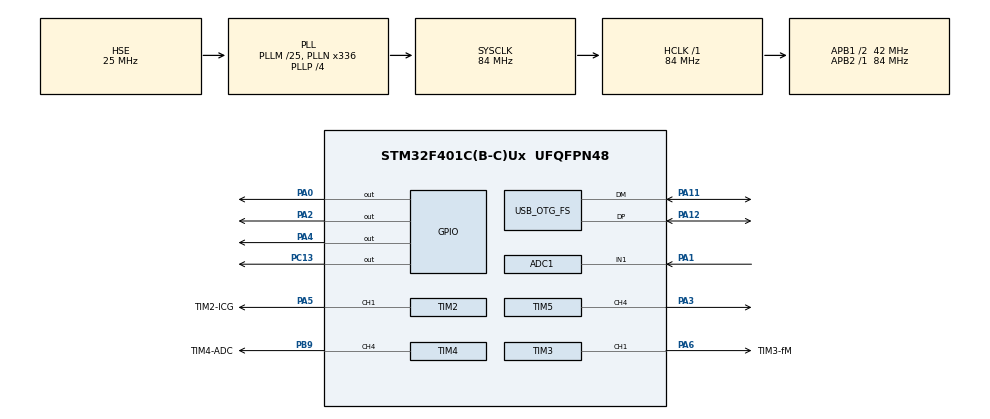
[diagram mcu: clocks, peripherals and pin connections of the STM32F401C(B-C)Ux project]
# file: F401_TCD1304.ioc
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ADC1.Channel-0\#ChannelRegularConversion=ADC_CHANNEL_1
ADC1.DMAContinuousRequests=ENABLE
ADC1.ExternalTrigConv=ADC_EXTERNALTRIGCONV_T4_CC4
ADC1.InjNumberOfConversion=0
ADC1.NbrOfConversion=1
ADC1.NbrOfConversionFlag=1
ADC1.Rank-0\#ChannelRegularConversion=1
ADC1.SamplingTime-0\#ChannelRegularConversion=ADC_SAMPLETIME_3CYCLES
ADC1.master=1
Dma.ADC1.0.Direction=DMA_PERIPH_TO_MEMORY
Dma.ADC1.0.FIFOMode=DMA_FIFOMODE_DISABLE
Dma.ADC1.0.Instance=DMA2_Stream0
Dma.ADC1.0.MemDataAlignment=DMA_MDATAALIGN_HALFWORD
Dma.ADC1.0.MemInc=DMA_MINC_ENABLE
Dma.ADC1.0.Mode=DMA_CIRCULAR
Dma.ADC1.0.PeriphDataAlignment=DMA_PDATAALIGN_HALFWORD
Dma.ADC1.0.PeriphInc=DMA_PINC_DISABLE
Dma.ADC1.0.Priority=DMA_PRIORITY_LOW
Dma.Request0=ADC1
Mcu.Family=STM32F4
Mcu.Name=STM32F401C(B-C)Ux
Mcu.Package=UFQFPN48
NVIC.DMA2_Stream0_IRQn=true\:0\:0\:false\:false\:true\:false\:true
NVIC.OTG_FS_IRQn=true\:0\:0\:false\:false\:true\:false\:true
NVIC.PriorityGroup=NVIC_PRIORITYGROUP_4
PA0-WKUP.GPIO_PuPd=GPIO_PULLDOWN
PA0-WKUP.Signal=GPIO_Output
PA1.Signal=ADCx_IN1
PA11.Mode=Device_Only
PA11.Signal=USB_OTG_FS_DM
PA12.Mode=Device_Only
PA12.Signal=USB_OTG_FS_DP
PA2.GPIO_PuPd=GPIO_PULLDOWN
PA2.Signal=GPIO_Output
PA3.Signal=S_TIM5_CH4
PA4.GPIO_PuPd=GPIO_PULLDOWN
PA4.Signal=GPIO_Output
PA5.GPIO_Label=TIM2-ICG
PA5.Signal=S_TIM2_CH1_ETR
PA6.GPIO_Label=TIM3-fM
PA6.Signal=S_TIM3_CH1
PB9.GPIO_Label=TIM4-ADC
PB9.Signal=S_TIM4_CH4
PC13-ANTI_TAMP.Signal=GPIO_Output
PH0\ -\ OSC_IN.Mode=HSE-External-Oscillator
PH0\ -\ OSC_IN.Signal=RCC_OSC_IN
PH1\ -\ OSC_OUT.Mode=HSE-External-Oscillator
PH1\ -\ OSC_OUT.Signal=RCC_OSC_OUT
ProjectManager.HeapSize=0x200
ProjectManager.StackSize=0x400
ProjectManager.TargetToolchain=STM32CubeIDE
RCC.48MHZClocksFreq_Value=48000000
RCC.AHBFreq_Value=84000000
RCC.APB1CLKDivider=RCC_HCLK_DIV2
RCC.APB1Freq_Value=42000000
RCC.APB1TimFreq_Value=84000000
RCC.APB2Freq_Value=84000000
RCC.APB2TimFreq_Value=84000000
RCC.CortexFreq_Value=84000000
RCC.HCLKFreq_Value=84000000
RCC.HSE_VALUE=25000000
RCC.HSI_VALUE=16000000
RCC.LSE_VALUE=32768
RCC.PLLM=25
RCC.PLLN=336
RCC.PLLP=RCC_PLLP_DIV4
RCC.PLLQ=7
RCC.SYSCLKFreq_VALUE=84000000
RCC.SYSCLKSource=RCC_SYSCLKSOURCE_PLLCLK
RCC.VCOOutputFreq_Value=336000000
SH.ADCx_IN1.0=ADC1_IN1,IN1
SH.S_TIM2_CH1_ETR.0=TIM2_CH1,PWM Generation1 CH1
SH.S_TIM3_CH1.0=TIM3_CH1,PWM Generation1 CH1
SH.S_TIM4_CH4.0=TIM4_CH4,PWM Generation4 CH4
SH.S_TIM5_CH4.0=TIM5_CH4,PWM Generation4 CH4
TIM2.AutoReloadPreload=TIM_AUTORELOAD_PRELOAD_DISABLE
TIM2.Channel-PWM\ Generation1\ CH1=TIM_CHANNEL_1
TIM2.OCPolarity_1=TIM_OCPOLARITY_LOW
TIM2.Period=1241184-1
TIM2.Pulse-PWM\ Generation1\ CH1=840-1
TIM2.TIM_MasterOutputTrigger=TIM_TRGO_ENABLE
TIM2.TIM_MasterSlaveMode=TIM_MASTERSLAVEMODE_ENABLE
TIM3.Channel-PWM\ Generation1\ CH1=TIM_CHANNEL_1
TIM3.Period=84-1
TIM3.Pulse-PWM\ Generation1\ CH1=42-1
TIM3.TIM_MasterSlaveMode=TIM_MASTERSLAVEMODE_ENABLE
TIM4.Channel-PWM\ Generation4\ CH4=TIM_CHANNEL_4
TIM4.Period=336-1
TIM4.Pulse-PWM\ Generation4\ CH4=84-1
TIM4.TIM_MasterSlaveMode=TIM_MASTERSLAVEMODE_ENABLE
TIM5.AutoReloadPreload=TIM_AUTORELOAD_PRELOAD_DISABLE
TIM5.Channel-PWM\ Generation4\ CH4=TIM_CHANNEL_4
TIM5.Period=29552-1
TIM5.Pulse-PWM\ Generation4\ CH4=378-1
TIM5.TIM_MasterOutputTrigger=TIM_TRGO_RESET
TIM5.TIM_MasterSlaveMode=TIM_MASTERSLAVEMODE_ENABLE
USB_DEVICE.CLASS_NAME_FS=CDC
USB_DEVICE.VirtualMode=Cdc
USB_DEVICE.VirtualModeFS=Cdc_FS
USB_OTG_FS.VirtualMode=Device_Only
VP_TIM2_VS_ClockSourceINT.Mode=Internal
VP_TIM3_VS_ClockSourceINT.Mode=Internal
VP_TIM3_VS_ClockSourceITR.Mode=TriggerSource_ITR2
VP_TIM4_VS_ClockSourceINT.Mode=Internal
VP_TIM5_VS_ClockSourceINT.Mode=Internal
VP_TIM5_VS_ClockSourceITR.Mode=TriggerSource_ITR0
VP_TIM5_VS_ControllerModeTrigger.Mode=Trigger Mode
VP_USB_DEVICE_VS_USB_DEVICE_CDC_FS.Mode=CDC_FS
board=custom

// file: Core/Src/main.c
/* USER CODE BEGIN Header */
/**
  ******************************************************************************
  * @file           : main.c
  * @brief          : Main program body
  ******************************************************************************
  * @attention
  *
  * <h2><center>&copy; Copyright (c) 2022 STMicroelectronics.
  * All rights reserved.</center></h2>
  *
  * This software component is licensed by ST under BSD 3-Clause license,
  * the "License"; You may not use this file except in compliance with the
  * License. You may obtain a copy of the License at:
  *                        opensource.org/licenses/BSD-3-Clause
  *
  ******************************************************************************
  *
  * This firmware interfaces the STM32F401CCU6 microcontroller with the
  * TCD1304 linear CCD sensor using:
  *
  * - Hardware timer synchronization
  * - ADC + DMA high-speed acquisition
  * - USB CDC frame streaming
  * - Adjustable integration timing
  *
  * The firmware generates all required CCD timing signals entirely in hardware:
  *
  * - fM  : CCD master clock
  * - SH  : Sample & Hold pulse
  * - ICG : Integration Clear Gate
  * - ADC synchronization clock
  *
  * ============================================================================
  * Relevant Articles and Video Series
  * ============================================================================
  *
  * A complete development playlist for this project is available here:
  *
  * https://www.youtube.com/playlist?list=PLaeIi4Gbl1T_VSpqzWGMiYx2A7urjnoD4
  *
  * Please make sure to check the descriptions of the videos in the playlist,
  * as each video is accompanied by a detailed article relevant to the topic.
  *
  * ============================================================================
  * Support My Work
  * ============================================================================
  *
  * If you use this project, source code, or articles, please consider
  * supporting my work. Developing these projects requires significant
  * time, testing, and equipment costs.
  *
  * PayPal Donation:
  * https://www.paypal.com/donate/?hosted_button_id=8JWLLFLE2TLCA
  *
  * YouTube Membership:
  * https://www.youtube.com/channel/UCKp1MzuAceJnDqAvsZl_46g/join
  *
  * Affiliate Links:
  * https://curiousscientist.tech/tools
  *
  * ============================================================================
  * Citation Notice
  * ============================================================================
  *
  * If you reuse this code, documentation, or project structure in your own
  * work, please make sure to properly cite and reference the original source.
  *
  ******************************************************************************
  */
  */
/* USER CODE END Header */
#include "main.h"
#include "usb_device.h"

/* USER CODE BEGIN Includes */
#include "usbd_cdc_if.h"
/* USER CODE END Includes */

/* USER CODE BEGIN PD */
#define CCDSize 3694
//Number of effective pixels: 3648
//Full package size due to dummy pixels: 3694
/* USER CODE END PD */

ADC_HandleTypeDef hadc1;
DMA_HandleTypeDef hdma_adc1;

TIM_HandleTypeDef htim2;
TIM_HandleTypeDef htim3;
TIM_HandleTypeDef htim4;
TIM_HandleTypeDef htim5;

void SystemClock_Config(void);
static void MX_GPIO_Init(void);
static void MX_TIM2_Init(void);
static void MX_TIM5_Init(void);
static void MX_TIM3_Init(void);
static void MX_DMA_Init(void);
static void MX_ADC1_Init(void);
static void MX_TIM4_Init(void);

/* USER CODE BEGIN 0 */
volatile uint16_t CCDDataBuffer[CCDSize]; //Pixel buffer

uint32_t SH_value; //SH value received from the PC
uint32_t frameCounter = 0; //Counter which is incremented when a full line is captured
uint8_t commandReceived; //Flag that indicates a received command from the USB
uint8_t buffer[64]; //Buffer for the parameters received via USB

/* USER CODE END 0 */

int main(void)
{

  /* MCU Configuration--------------------------------------------------------*/

  /* Reset of all peripherals, Initializes the Flash interface and the Systick. */
  HAL_Init();

  /* Configure the system clock */
  SystemClock_Config();

  /* Initialize all configured peripherals */
  MX_GPIO_Init();
  MX_TIM2_Init();
  MX_USB_DEVICE_Init();
  MX_TIM5_Init();
  MX_TIM3_Init();
  MX_DMA_Init();
  MX_ADC1_Init();
  MX_TIM4_Init();
  /* USER CODE BEGIN 2 */

  HAL_GPIO_WritePin(GPIOC, GPIO_PIN_13, SET); //Turn off C13 LED on the microcontroller board

  /* USER CODE END 2 */

  /* Infinite loop */
  while (1)
  {

    /* USER CODE BEGIN 3 */

	  checkUSBCommunication(); //Poll for commands coming from the PC
  }
  /* USER CODE END 3 */
}

void SystemClock_Config(void)
{
  RCC_OscInitTypeDef RCC_OscInitStruct = {0};
  RCC_ClkInitTypeDef RCC_ClkInitStruct = {0};

  /** Configure the main internal regulator output voltage
  */
  __HAL_RCC_PWR_CLK_ENABLE();
  __HAL_PWR_VOLTAGESCALING_CONFIG(PWR_REGULATOR_VOLTAGE_SCALE2);
  /** Initializes the RCC Oscillators according to the specified parameters
  * in the RCC_OscInitTypeDef structure.
  */
  RCC_OscInitStruct.OscillatorType = RCC_OSCILLATORTYPE_HSE;
  RCC_OscInitStruct.HSEState = RCC_HSE_ON;
  RCC_OscInitStruct.PLL.PLLState = RCC_PLL_ON;
  RCC_OscInitStruct.PLL.PLLSource = RCC_PLLSOURCE_HSE;
  RCC_OscInitStruct.PLL.PLLM = 25;
  RCC_OscInitStruct.PLL.PLLN = 336;
  RCC_OscInitStruct.PLL.PLLP = RCC_PLLP_DIV4;
  RCC_OscInitStruct.PLL.PLLQ = 7;
  if (HAL_RCC_OscConfig(&RCC_OscInitStruct) != HAL_OK)
  {
    Error_Handler();
  }
  /** Initializes the CPU, AHB and APB buses clocks
  */
  RCC_ClkInitStruct.ClockType = RCC_CLOCKTYPE_HCLK|RCC_CLOCKTYPE_SYSCLK
                              |RCC_CLOCKTYPE_PCLK1|RCC_CLOCKTYPE_PCLK2;
  RCC_ClkInitStruct.SYSCLKSource = RCC_SYSCLKSOURCE_PLLCLK;
  RCC_ClkInitStruct.AHBCLKDivider = RCC_SYSCLK_DIV1;
  RCC_ClkInitStruct.APB1CLKDivider = RCC_HCLK_DIV2;
  RCC_ClkInitStruct.APB2CLKDivider = RCC_HCLK_DIV1;

  if (HAL_RCC_ClockConfig(&RCC_ClkInitStruct, FLASH_LATENCY_2) != HAL_OK)
  {
    Error_Handler();
  }
}

static void MX_ADC1_Init(void)
{

  ADC_ChannelConfTypeDef sConfig = {0};

  /** Configure the global features of the ADC (Clock, Resolution, Data Alignment and number of conversion)
  */
  hadc1.Instance = ADC1;
  hadc1.Init.ClockPrescaler = ADC_CLOCK_SYNC_PCLK_DIV4;
  hadc1.Init.Resolution = ADC_RESOLUTION_12B;
  hadc1.Init.ScanConvMode = DISABLE;
  hadc1.Init.ContinuousConvMode = DISABLE;
  hadc1.Init.DiscontinuousConvMode = DISABLE;
  hadc1.Init.ExternalTrigConvEdge = ADC_EXTERNALTRIGCONVEDGE_RISING;
  hadc1.Init.ExternalTrigConv = ADC_EXTERNALTRIGCONV_T4_CC4;
  hadc1.Init.DataAlign = ADC_DATAALIGN_RIGHT;
  hadc1.Init.NbrOfConversion = 1;
  hadc1.Init.DMAContinuousRequests = ENABLE;
  hadc1.Init.EOCSelection = ADC_EOC_SINGLE_CONV;
  if (HAL_ADC_Init(&hadc1) != HAL_OK)
  {
    Error_Handler();
  }
  /** Configure for the selected ADC regular channel its corresponding rank in the sequencer and its sample time.
  */
  sConfig.Channel = ADC_CHANNEL_1;
  sConfig.Rank = 1;
  sConfig.SamplingTime = ADC_SAMPLETIME_3CYCLES;
  if (HAL_ADC_ConfigChannel(&hadc1, &sConfig) != HAL_OK)
  {
    Error_Handler();
  }

}

static void MX_TIM2_Init(void)
{

  TIM_ClockConfigTypeDef sClockSourceConfig = {0};
  TIM_MasterConfigTypeDef sMasterConfig = {0};
  TIM_OC_InitTypeDef sConfigOC = {0};

  htim2.Instance = TIM2;
  htim2.Init.Prescaler = 0;
  htim2.Init.CounterMode = TIM_COUNTERMODE_UP;
  htim2.Init.Period = 1241184-1;
  htim2.Init.ClockDivision = TIM_CLOCKDIVISION_DIV1;
  htim2.Init.AutoReloadPreload = TIM_AUTORELOAD_PRELOAD_DISABLE;
  if (HAL_TIM_Base_Init(&htim2) != HAL_OK)
  {
    Error_Handler();
  }
  sClockSourceConfig.ClockSource = TIM_CLOCKSOURCE_INTERNAL;
  if (HAL_TIM_ConfigClockSource(&htim2, &sClockSourceConfig) != HAL_OK)
  {
    Error_Handler();
  }
  if (HAL_TIM_PWM_Init(&htim2) != HAL_OK)
  {
    Error_Handler();
  }
  sMasterConfig.MasterOutputTrigger = TIM_TRGO_ENABLE;
  sMasterConfig.MasterSlaveMode = TIM_MASTERSLAVEMODE_ENABLE;
  if (HAL_TIMEx_MasterConfigSynchronization(&htim2, &sMasterConfig) != HAL_OK)
  {
    Error_Handler();
  }
  sConfigOC.OCMode = TIM_OCMODE_PWM1;
  sConfigOC.Pulse = 840-1;
  sConfigOC.OCPolarity = TIM_OCPOLARITY_LOW;
  sConfigOC.OCFastMode = TIM_OCFAST_DISABLE;
  if (HAL_TIM_PWM_ConfigChannel(&htim2, &sConfigOC, TIM_CHANNEL_1) != HAL_OK)
  {
    Error_Handler();
  }
  HAL_TIM_MspPostInit(&htim2);

}

static void MX_TIM3_Init(void)
{

  TIM_ClockConfigTypeDef sClockSourceConfig = {0};
  TIM_SlaveConfigTypeDef sSlaveConfig = {0};
  TIM_MasterConfigTypeDef sMasterConfig = {0};
  TIM_OC_InitTypeDef sConfigOC = {0};

  htim3.Instance = TIM3;
  htim3.Init.Prescaler = 0;
  htim3.Init.CounterMode = TIM_COUNTERMODE_UP;
  htim3.Init.Period = 84-1;
  htim3.Init.ClockDivision = TIM_CLOCKDIVISION_DIV1;
  htim3.Init.AutoReloadPreload = TIM_AUTORELOAD_PRELOAD_DISABLE;
  if (HAL_TIM_Base_Init(&htim3) != HAL_OK)
  {
    Error_Handler();
  }
  sClockSourceConfig.ClockSource = TIM_CLOCKSOURCE_INTERNAL;
  if (HAL_TIM_ConfigClockSource(&htim3, &sClockSourceConfig) != HAL_OK)
  {
    Error_Handler();
  }
  if (HAL_TIM_PWM_Init(&htim3) != HAL_OK)
  {
    Error_Handler();
  }
  sSlaveConfig.SlaveMode = TIM_SLAVEMODE_DISABLE;
  sSlaveConfig.InputTrigger = TIM_TS_ITR2;
  if (HAL_TIM_SlaveConfigSynchro(&htim3, &sSlaveConfig) != HAL_OK)
  {
    Error_Handler();
  }
  sMasterConfig.MasterOutputTrigger = TIM_TRGO_RESET;
  sMasterConfig.MasterSlaveMode = TIM_MASTERSLAVEMODE_ENABLE;
  if (HAL_TIMEx_MasterConfigSynchronization(&htim3, &sMasterConfig) != HAL_OK)
  {
    Error_Handler();
  }
  sConfigOC.OCMode = TIM_OCMODE_PWM1;
  sConfigOC.Pulse = 42-1;
  sConfigOC.OCPolarity = TIM_OCPOLARITY_HIGH;
  sConfigOC.OCFastMode = TIM_OCFAST_DISABLE;
  if (HAL_TIM_PWM_ConfigChannel(&htim3, &sConfigOC, TIM_CHANNEL_1) != HAL_OK)
  {
    Error_Handler();
  }
  HAL_TIM_MspPostInit(&htim3);

}

static void MX_TIM4_Init(void)
{

  TIM_ClockConfigTypeDef sClockSourceConfig = {0};
  TIM_MasterConfigTypeDef sMasterConfig = {0};
  TIM_OC_InitTypeDef sConfigOC = {0};

  htim4.Instance = TIM4;
  htim4.Init.Prescaler = 0;
  htim4.Init.CounterMode = TIM_COUNTERMODE_UP;
  htim4.Init.Period = 336-1;
  htim4.Init.ClockDivision = TIM_CLOCKDIVISION_DIV1;
  htim4.Init.AutoReloadPreload = TIM_AUTORELOAD_PRELOAD_DISABLE;
  if (HAL_TIM_Base_Init(&htim4) != HAL_OK)
  {
    Error_Handler();
  }
  sClockSourceConfig.ClockSource = TIM_CLOCKSOURCE_INTERNAL;
  if (HAL_TIM_ConfigClockSource(&htim4, &sClockSourceConfig) != HAL_OK)
  {
    Error_Handler();
  }
  if (HAL_TIM_PWM_Init(&htim4) != HAL_OK)
  {
    Error_Handler();
  }
  sMasterConfig.MasterOutputTrigger = TIM_TRGO_RESET;
  sMasterConfig.MasterSlaveMode = TIM_MASTERSLAVEMODE_ENABLE;
  if (HAL_TIMEx_MasterConfigSynchronization(&htim4, &sMasterConfig) != HAL_OK)
  {
    Error_Handler();
  }
  sConfigOC.OCMode = TIM_OCMODE_PWM1;
  sConfigOC.Pulse = 84-1;
  sConfigOC.OCPolarity = TIM_OCPOLARITY_HIGH;
  sConfigOC.OCFastMode = TIM_OCFAST_DISABLE;
  if (HAL_TIM_PWM_ConfigChannel(&htim4, &sConfigOC, TIM_CHANNEL_4) != HAL_OK)
  {
    Error_Handler();
  }
  HAL_TIM_MspPostInit(&htim4);

}

static void MX_TIM5_Init(void)
{

  TIM_ClockConfigTypeDef sClockSourceConfig = {0};
  TIM_SlaveConfigTypeDef sSlaveConfig = {0};
  TIM_MasterConfigTypeDef sMasterConfig = {0};
  TIM_OC_InitTypeDef sConfigOC = {0};

  htim5.Instance = TIM5;
  htim5.Init.Prescaler = 0;
  htim5.Init.CounterMode = TIM_COUNTERMODE_UP;
  htim5.Init.Period = 29552-1;
  htim5.Init.ClockDivision = TIM_CLOCKDIVISION_DIV1;
  htim5.Init.AutoReloadPreload = TIM_AUTORELOAD_PRELOAD_DISABLE;
  if (HAL_TIM_Base_Init(&htim5) != HAL_OK)
  {
    Error_Handler();
  }
  sClockSourceConfig.ClockSource = TIM_CLOCKSOURCE_INTERNAL;
  if (HAL_TIM_ConfigClockSource(&htim5, &sClockSourceConfig) != HAL_OK)
  {
    Error_Handler();
  }
  if (HAL_TIM_PWM_Init(&htim5) != HAL_OK)
  {
    Error_Handler();
  }
  sSlaveConfig.SlaveMode = TIM_SLAVEMODE_TRIGGER;
  sSlaveConfig.InputTrigger = TIM_TS_ITR0;
  if (HAL_TIM_SlaveConfigSynchro(&htim5, &sSlaveConfig) != HAL_OK)
  {
    Error_Handler();
  }
  sMasterConfig.MasterOutputTrigger = TIM_TRGO_RESET;
  sMasterConfig.MasterSlaveMode = TIM_MASTERSLAVEMODE_ENABLE;
  if (HAL_TIMEx_MasterConfigSynchronization(&htim5, &sMasterConfig) != HAL_OK)
  {
    Error_Handler();
  }
  sConfigOC.OCMode = TIM_OCMODE_PWM1;
  sConfigOC.Pulse = 378-1;
  sConfigOC.OCPolarity = TIM_OCPOLARITY_HIGH;
  sConfigOC.OCFastMode = TIM_OCFAST_DISABLE;
  if (HAL_TIM_PWM_ConfigChannel(&htim5, &sConfigOC, TIM_CHANNEL_4) != HAL_OK)
  {
    Error_Handler();
  }
  HAL_TIM_MspPostInit(&htim5);

}

static void MX_DMA_Init(void)
{

  /* DMA controller clock enable */
  __HAL_RCC_DMA2_CLK_ENABLE();

  /* DMA interrupt init */
  /* DMA2_Stream0_IRQn interrupt configuration */
  HAL_NVIC_SetPriority(DMA2_Stream0_IRQn, 0, 0);
  HAL_NVIC_EnableIRQ(DMA2_Stream0_IRQn);

}

static void MX_GPIO_Init(void)
{
  GPIO_InitTypeDef GPIO_InitStruct = {0};

  /* GPIO Ports Clock Enable */
  __HAL_RCC_GPIOC_CLK_ENABLE();
  __HAL_RCC_GPIOH_CLK_ENABLE();
  __HAL_RCC_GPIOA_CLK_ENABLE();
  __HAL_RCC_GPIOB_CLK_ENABLE();

  /*Configure GPIO pin Output Level */
  HAL_GPIO_WritePin(GPIOC, GPIO_PIN_13, GPIO_PIN_RESET);

  /*Configure GPIO pin Output Level */
  HAL_GPIO_WritePin(GPIOA, GPIO_PIN_0|GPIO_PIN_2|GPIO_PIN_4, GPIO_PIN_RESET);

  /*Configure GPIO pin : PC13 */
  GPIO_InitStruct.Pin = GPIO_PIN_13;
  GPIO_InitStruct.Mode = GPIO_MODE_OUTPUT_PP;
  GPIO_InitStruct.Pull = GPIO_NOPULL;
  GPIO_InitStruct.Speed = GPIO_SPEED_FREQ_LOW;
  HAL_GPIO_Init(GPIOC, &GPIO_InitStruct);

  /*Configure GPIO pins : PA0 PA2 PA4 */
  GPIO_InitStruct.Pin = GPIO_PIN_0|GPIO_PIN_2|GPIO_PIN_4;
  GPIO_InitStruct.Mode = GPIO_MODE_OUTPUT_PP;
  GPIO_InitStruct.Pull = GPIO_PULLDOWN;
  GPIO_InitStruct.Speed = GPIO_SPEED_FREQ_LOW;
  HAL_GPIO_Init(GPIOA, &GPIO_InitStruct);

}

/* USER CODE BEGIN 4 */

void HAL_ADC_ConvCpltCallback(ADC_HandleTypeDef* hadc)
{
	frameCounter++;

	if(frameCounter == 10) //After n frames have been captured, allow the below code to execute
	{
		frameCounter = 0; //Reset the counter, so n frames will be neglected again

		CDC_Transmit_FS((uint8_t*)CCDDataBuffer, 2*CCDSize); //Transfer data as binary, 2 x 8 bits
	}

	/*
	Little explanations:
	If your capturing code on the PC is too slow, the microcontroller might capture and send the next frame (line) before your code is able to deal with the first line.
	Therefore, I made a simple trick that makes the code to only send every n-th line. This allows the PC to finish processing the actual line before receiving the next.
	*/
}

void checkUSBCommunication()
{
	if(commandReceived == 1)
	{
		if(buffer[0] == 's') //sampling start
		{
		  HAL_ADC_Start_DMA(&hadc1, (uint32_t*) CCDDataBuffer, CCDSize);

		  HAL_TIM_PWM_Start(&htim4, TIM_CHANNEL_4); //ADC
		  HAL_TIM_PWM_Start(&htim3, TIM_CHANNEL_1); //fM
		  HAL_TIM_PWM_Start(&htim5, TIM_CHANNEL_4); //SH
		  __HAL_TIM_SET_COUNTER(&htim2, 66);

		  //ICG is the TRIGGER timer - it is started last
		  HAL_TIM_PWM_Start(&htim2, TIM_CHANNEL_1); //ICG
		}
		if(buffer[0] == 'd') //sampling stop
		{
		      HAL_ADC_Stop_DMA(&hadc1);

			  HAL_TIM_PWM_Stop(&htim4, TIM_CHANNEL_4); //ADC
			  HAL_TIM_PWM_Stop(&htim3, TIM_CHANNEL_1); //fM
			  HAL_TIM_PWM_Stop(&htim5, TIM_CHANNEL_4); //SH
			  HAL_TIM_PWM_Stop(&htim2, TIM_CHANNEL_1); //ICG

			  //Resetting all counters
			  __HAL_TIM_SET_COUNTER(&htim2, 0);
			  __HAL_TIM_SET_COUNTER(&htim3, 0);
			  __HAL_TIM_SET_COUNTER(&htim4, 0);
			  __HAL_TIM_SET_COUNTER(&htim5, 0);

			  //Clear flags to make the timers behave correctly upon restart
			__HAL_TIM_CLEAR_FLAG(&htim2, TIM_FLAG_UPDATE);
			__HAL_TIM_CLEAR_FLAG(&htim3, TIM_FLAG_UPDATE);
			__HAL_TIM_CLEAR_FLAG(&htim4, TIM_FLAG_UPDATE);
			__HAL_TIM_CLEAR_FLAG(&htim5, TIM_FLAG_UPDATE);
		}
		if(buffer[0] == 'i') //integration time update (SH)
		{
			char tempStr[8 + 1];  //7 digits + 1 for null terminator
			memcpy(tempStr, &buffer[1], 7);
			tempStr[7] = '\0'; //Null-terminate
			SH_value = atoi(tempStr);

			//1 digit number example: 0000001 -> value = 1
			//3 digit number example: 0000123 -> value = 123
			//5 digit number example: 0012934 -> value = 12934
			//7 digit number example: 1243765 remains the same

			//Update the timer value
			__HAL_TIM_SET_COUNTER(&htim5,0); //Set the counter to zero first
			__HAL_TIM_SET_AUTORELOAD(&htim5, SH_value-1); //Update the ARR register
		}
		else
		{
			//skip
		}
		commandReceived = 0; //reset the flag so the code is ready to accept a new command.
	}

	//Note: Relevant code can be found in the usbd_cdc_if.c file in the CDC_Receive_FS() function!
}

/* USER CODE END 4 */

void Error_Handler(void)
{
  __disable_irq();
  while (1)
  {
  }
}

/************************ (C) COPYRIGHT STMicroelectronics *****END OF FILE****/
